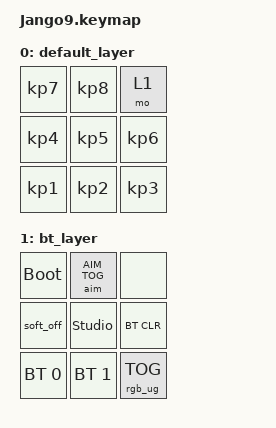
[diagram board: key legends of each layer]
#define ZMK_POINTING_DEFAULT_MOVE_VAL 1500  // default: 600
#define ZMK_POINTING_DEFAULT_SCRL_VAL 20    // default: 10

#include <dt-bindings/zmk/pointing.h>
#include <dt-bindings/zmk/rgb.h>
#include <behaviors.dtsi>
#include <dt-bindings/zmk/keys.h>
#include <dt-bindings/zmk/bt.h>
#include <behaviors/anti_idle_mode.dtsi>
#include <dt-bindings/anti_idle_mode.h>

&soft_off {
    hold-time-ms = <5000>; // Only turn off it the key is held for 5 seconds or longer.
};

/ {
   keymap {
      compatible = "zmk,keymap";

      default_layer {
         bindings = <
            &kp KP_N7   &kp KP_N8   &mo 1
            &kp KP_N4   &kp KP_N5   &kp KP_N6
            &kp KP_N1   &kp KP_N2   &kp KP_N3
         >;
      };

      bt_layer {
         bindings = <
            &bootloader    &aim AIM_TOG          &none
            &soft_off      &studio_unlock                 &bt BT_CLR
            &bt BT_SEL 0   &bt BT_SEL 1          &rgb_ug RGB_TOG
         >;
      };
   };
};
